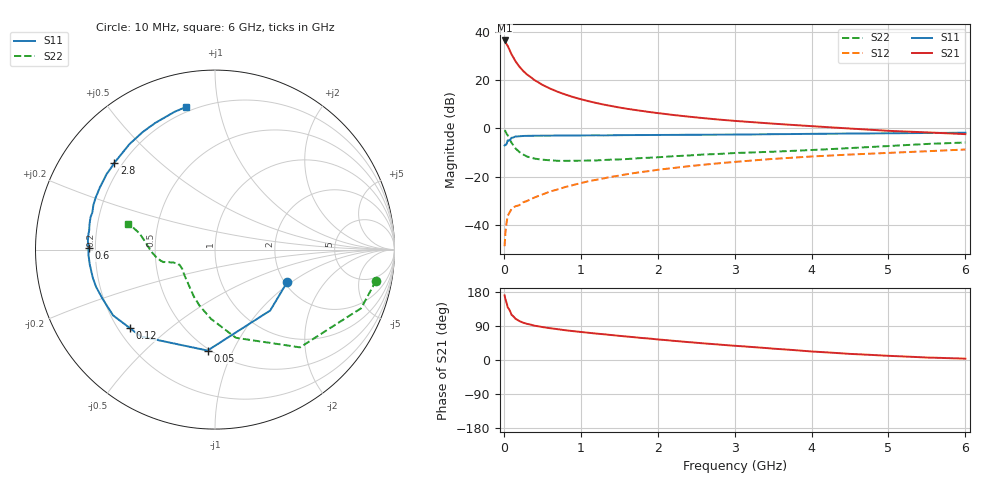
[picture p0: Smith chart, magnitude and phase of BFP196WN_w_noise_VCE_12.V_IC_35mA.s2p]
! Infineon Technologies  Discrete & RF Semiconductors
! BFP196WN
! VCE =  12. V,  IC =  35 mA
! Common Emitter S-Parameters:  Jan 2017
# GHz  S  MA  R  50
!  f  S11  S21  S12  S22
! GHz  MAG  ANG  MAG  ANG  MAG  ANG  MAG  ANG
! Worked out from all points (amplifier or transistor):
!   77 points, 10 MHz to 6 GHz, reference 50 ohm
!   highest |S21| = 36.4 dB at 10 MHz (marker M1)
!   |S21| within 3 dB of that: start of sweep to 61.17 MHz
!   unconditionally stable (mu >= 1): 807.6 MHz to 2.69 GHz
!   at 130 MHz: K = 0.43, MSG = 30.9 dB, |S12| = -32.8 dB
!   at 2.2 GHz: K = 1.03, MAG = 10.0 dB, |S12| = -16.5 dB
!   at 6 GHz: K = 0.89, MSG = 3.2 dB, |S12| = -8.8 dB
!   lowest NFmin = 1.11 dB at 450 MHz
!   S11 on the Smith chart (normalised r, x): 10 MHz: 2.08, -0.92; 50 MHz: 0.49, -0.80; 120 MHz: 0.25, -0.37; 600 MHz: 0.17, +0.01; 2.8 GHz: 0.17, +0.36; 6 GHz: 0.17, +0.81
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0.01  0.4413 -23.9  66.44 170.6  0.0036 65.7  0.914 -10.9
0.02  0.458 -47.8  62.11 160.9  0.0068 72.1  0.877 -21.9
0.05  0.564 -94.2  51.25 139.2  0.0151 54.4  0.7218 -49.0
0.1  0.6361 -130.4  34.14 119.2  0.0212 45.9  0.5049 -76.7
0.12  0.6453 -137.4  30.31 115.9  0.0224 45.1  0.453 -82.3
0.15  0.676 -147.2  24.82 109.1  0.0242 44.1  0.3861 -93.4
0.2  0.6836 -156.3  19.18 102.9  0.0254 46.2  0.3241 -105.4
0.25  0.6942 -162.5  15.6 98.6  0.0292 46.8  0.2878 -114.0
0.3  0.6986 -166.9  13.12 95.4  0.0311 49.6  0.2607 -121.2
0.4  0.7026 -173.0  9.962 90.5  0.0369 53.4  0.2356 -131.1
0.5  0.7053 -177.3  7.999 87.0  0.0424 56.6  0.2239 -138.6
0.6  0.7048 179.3  6.687 83.9  0.0489 59.4  0.2174 -144.0
0.7  0.7097 176.4  5.729 81.3  0.0541 61.7  0.2122 -147.6
0.8  0.7106 173.6  5.023 78.5  0.0608 63.1  0.2116 -150.2
1.1  0.7147 167.2  3.66 71.9  0.0799 64.8  0.2147 -156.3
1.5  0.7215 159.9  2.705 63.8  0.105 64.9  0.2267 -160.6
2.1  0.7297 149.9  1.982 52.6  0.1441 62.8  0.2574 -164.0
2.8  0.7403 139.3  1.517 40.7  0.1888 58.6  0.2948 -166.3
3.1  0.7444 134.8  1.391 36.2  0.2073 56.2  0.3114 -169.0
4.1  0.7706 120.2  1.085 21.3  0.2655 48.7  0.3615 -179.9
5.1  0.7913 109.3  0.874 10.2  0.3146 41.3  0.4381 167.3
6  0.8108 101.3  0.758 3.6  0.3639 35.3  0.5084 163.4
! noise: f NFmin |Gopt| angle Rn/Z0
0.45  1.11  0.47  179  0.05
0.9  1.24  0.53  186  0.05
1.9  2.17  0.68  212  0.13
2.4  2.91  0.69  219  0.25
